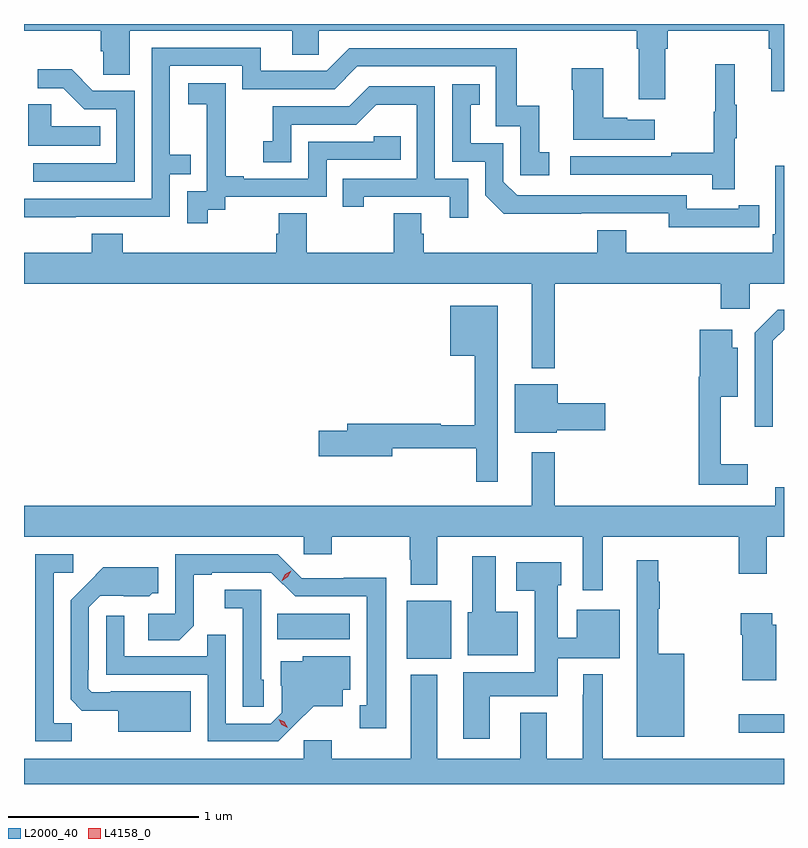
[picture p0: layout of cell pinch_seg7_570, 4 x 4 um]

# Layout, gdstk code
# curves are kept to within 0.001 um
import gdstk
lib = gdstk.Library(unit=1e-6, precision=1e-09)
def R(c, l, rs):  # rectangles x0, y0, x1, y1
    for r in rs: c.add(gdstk.rectangle(r[:2], r[2:], *l))
def P(c, l, *ps):  # polygons
    for p in ps: c.add(gdstk.Polygon(p, *l))
L2000_40 = (2000, 40)
L4158_0 = (4158, 0)

pinch_seg7_570 = lib.new_cell('pinch_seg7_570')
R(pinch_seg7_570, L2000_40, [(185.529,1050.2,185.767,1050.297), (183.782,1050.59,184.015,1050.895), (183.1,1050.692,183.481,1050.826)])
P(pinch_seg7_570, L2000_40, [(181.767,1053.896),(182.171,1053.896),(182.171,1053.787),(182.184,1053.787),(182.184,1053.664),(182.323,1053.664),(182.323,1053.896),(183.179,1053.896),(183.179,1053.769),(183.318,1053.769),(183.318,1053.896),(184.991,1053.896),(184.991,1053.8),(185.003,1053.8),(185.003,1053.534),(185.143,1053.534),(185.143,1053.8),(185.156,1053.8),(185.156,1053.896),(185.687,1053.896),(185.687,1053.8),(185.699,1053.8),(185.699,1053.576),(185.767,1053.576),(185.767,1053.931),(181.767,1053.931)],
  [(182.039,1052.916),(182.535,1052.916),(182.535,1053.141),(182.645,1053.141),(182.645,1053.242),(182.535,1053.242),(182.535,1053.711),(182.916,1053.711),(182.916,1053.588),(183.402,1053.588),(183.522,1053.708),(184.251,1053.708),(184.251,1053.393),(184.38,1053.393),(184.38,1053.135),(184.531,1053.135),(184.531,1053.255),(184.478,1053.255),(184.478,1053.502),(184.36,1053.502),(184.36,1053.804),(183.48,1053.804),(183.36,1053.684),(183.013,1053.684),(183.013,1053.807),(182.439,1053.807),(182.439,1053.012),(181.767,1053.012),(181.767,1052.915)],
  [(185.507,1053.331),(185.518,1053.331),(185.518,1053.505),(185.507,1053.505),(185.507,1053.718),(185.404,1053.718),(185.404,1053.468),(185.397,1053.468),(185.397,1053.254),(185.173,1053.254),(185.173,1053.234),(184.641,1053.234),(184.641,1053.138),(185.389,1053.138),(185.389,1053.06),(185.507,1053.06)],
  [(185.086,1053.427),(184.943,1053.427),(184.943,1053.437),(184.816,1053.437),(184.816,1053.697),(184.651,1053.697),(184.651,1053.584),(184.658,1053.584),(184.658,1053.323),(185.086,1053.323)],
  [(182.349,1053.579),(182.13,1053.579),(182.017,1053.692),(181.839,1053.692),(181.839,1053.594),(181.973,1053.594),(182.084,1053.483),(182.253,1053.483),(182.253,1053.198),(181.815,1053.198),(181.815,1053.102),(182.349,1053.102)],
  [(182.734,1052.953),(182.826,1052.953),(182.826,1053.021),(183.36,1053.021),(183.36,1053.216),(183.749,1053.216),(183.749,1053.339),(183.609,1053.339),(183.609,1053.312),(183.264,1053.312),(183.264,1053.117),(182.923,1053.117),(182.923,1053.13),(182.828,1053.13),(182.828,1053.413),(182.829,1053.413),(182.829,1053.619),(182.631,1053.619),(182.631,1053.509),(182.729,1053.509),(182.729,1053.281),(182.73,1053.281),(182.73,1053.051),(182.625,1053.051),(182.625,1052.883),(182.734,1052.883)],
  [(185.528,1052.862),(185.636,1052.862),(185.636,1052.978),(185.528,1052.978),(185.528,1052.958),(185.256,1052.958),(185.256,1053.03),(184.362,1053.03),(184.29,1053.102),(184.29,1053.303),(184.117,1053.303),(184.117,1053.507),(184.166,1053.507),(184.166,1053.613),(184.02,1053.613),(184.02,1053.207),(184.194,1053.207),(184.194,1053.03),(184.292,1052.933),(185.16,1052.934),(185.16,1052.861)],
  [(184.104,1053.117),(183.93,1053.117),(183.93,1053.603),(183.584,1053.603),(183.479,1053.498),(183.076,1053.498),(183.076,1053.313),(183.027,1053.313),(183.027,1053.204),(183.174,1053.204),(183.174,1053.402),(183.516,1053.402),(183.62,1053.506),(183.834,1053.506),(183.834,1053.117),(183.445,1053.117),(183.445,1052.97),(183.556,1052.97),(183.556,1053.021),(184.007,1053.021),(184.007,1052.91),(184.104,1052.91)],
  [(182.168,1053.394),(181.911,1053.394),(181.911,1053.509),(181.79,1053.509),(181.79,1053.29),(182.168,1053.29)],
  [(184.561,1052.564),(185.435,1052.564),(185.435,1052.433),(185.586,1052.433),(185.586,1052.564),(185.767,1052.564),(185.767,1053.184),(185.721,1053.184),(185.721,1052.824),(185.708,1052.824),(185.708,1052.728),(184.936,1052.728),(184.936,1052.845),(184.784,1052.845),(184.784,1052.728),(183.872,1052.728),(183.872,1052.826),(183.859,1052.826),(183.859,1052.936),(183.712,1052.936),(183.712,1052.728),(183.255,1052.728),(183.255,1052.936),(183.107,1052.936),(183.107,1052.826),(183.095,1052.826),(183.095,1052.728),(182.288,1052.728),(182.288,1052.827),(182.123,1052.827),(182.123,1052.728),(181.767,1052.728),(181.767,1052.564),(184.439,1052.564),(184.439,1052.12),(184.561,1052.12)],
  [(184.261,1052.449),(184.01,1052.449),(184.01,1052.186),(184.14,1052.186),(184.14,1051.819),(183.961,1051.819),(183.961,1051.826),(183.467,1051.826),(183.467,1051.79),(183.318,1051.79),(183.318,1051.655),(183.706,1051.655),(183.706,1051.698),(184.147,1051.698),(184.147,1051.521),(184.261,1051.521)],
  [(185.709,1052.265),(185.767,1052.323),(185.767,1052.428),(185.734,1052.428),(185.613,1052.307),(185.613,1051.812),(185.709,1051.812)],
  [(185.575,1051.615),(185.435,1051.615),(185.435,1051.97),(185.524,1051.97),(185.524,1052.227),(185.494,1052.227),(185.494,1052.323),(185.324,1052.323),(185.324,1052.074),(185.317,1052.074),(185.317,1051.506),(185.575,1051.506)],
  [(184.572,1051.792),(184.825,1051.792),(184.825,1051.934),(184.576,1051.934),(184.576,1052.035),(184.349,1052.035),(184.349,1051.781),(184.572,1051.781)],
  [(181.767,1051.232),(183.24,1051.232),(183.24,1051.139),(183.387,1051.139),(183.387,1051.232),(183.796,1051.232),(183.796,1051.111),(183.803,1051.111),(183.803,1050.98),(183.943,1050.98),(183.943,1051.232),(184.709,1051.232),(184.709,1050.951),(184.813,1050.951),(184.813,1051.232),(185.53,1051.232),(185.53,1051.038),(185.677,1051.038),(185.677,1051.232),(185.767,1051.232),(185.767,1051.494),(185.72,1051.494),(185.72,1051.396),(184.561,1051.396),(184.561,1051.678),(184.439,1051.678),(184.439,1051.396),(181.767,1051.396)],
  [(183.673,1051.016),(183.45,1051.016),(183.45,1051.014),(183.228,1051.014),(183.102,1051.14),(182.562,1051.14),(182.562,1050.828),(182.421,1050.828),(182.421,1050.688),(182.585,1050.688),(182.661,1050.764),(182.661,1051.032),(182.755,1051.032),(182.755,1051.044),(183.069,1051.044),(183.195,1050.918),(183.572,1050.918),(183.572,1050.345),(183.533,1050.345),(183.533,1050.225),(183.673,1050.225)],
  [(182.019,1050.251),(181.923,1050.251),(181.923,1051.044),(182.026,1051.044),(182.026,1051.14),(181.827,1051.14),(181.827,1050.156),(182.019,1050.156)],
  [(184.366,1050.838),(184.249,1050.838),(184.249,1051.129),(184.127,1051.129),(184.127,1050.834),(184.103,1050.834),(184.103,1050.608),(184.366,1050.608)],
  [(185.242,1050.616),(185.105,1050.616),(185.105,1050.854),(185.113,1050.854),(185.113,1050.995),(185.105,1050.995),(185.105,1051.108),(184.991,1051.108),(184.991,1050.179),(185.242,1050.179)],
  [(184.219,1050.392),(184.576,1050.392),(184.576,1050.593),(184.903,1050.593),(184.903,1050.847),(184.676,1050.847),(184.676,1050.701),(184.576,1050.701),(184.576,1050.978),(184.594,1050.978),(184.594,1051.099),(184.359,1051.099),(184.359,1050.947),(184.454,1050.947),(184.454,1050.52),(184.079,1050.52),(184.079,1050.168),(184.219,1050.168)],
  [(182.644,1050.418),(182.224,1050.418),(182.224,1050.414),(182.124,1050.414),(182.106,1050.432),(182.106,1050.532),(182.109,1050.532),(182.109,1050.861),(182.169,1050.921),(182.426,1050.92),(182.442,1050.936),(182.473,1050.936),(182.473,1051.072),(182.185,1051.072),(182.013,1050.898),(182.013,1050.376),(182.072,1050.317),(182.264,1050.317),(182.264,1050.206),(182.644,1050.206)],
  [(183.03,1050.48),(183.015,1050.48),(183.015,1050.954),(182.823,1050.954),(182.823,1050.857),(182.919,1050.857),(182.919,1050.337),(183.03,1050.337)],
  [(185.725,1050.768),(185.704,1050.768),(185.704,1050.829),(185.539,1050.829),(185.539,1050.716),(185.546,1050.716),(185.546,1050.476),(185.725,1050.476)],
  [(183.19,1050.239),(183.293,1050.341),(183.445,1050.341),(183.445,1050.428),(183.484,1050.428),(183.484,1050.604),(183.234,1050.604),(183.234,1050.577),(183.119,1050.577),(183.119,1050.448),(183.123,1050.448),(183.123,1050.306),(183.066,1050.249),(182.829,1050.249),(182.829,1050.716),(182.731,1050.716),(182.731,1050.603),(182.295,1050.603),(182.295,1050.817),(182.199,1050.817),(182.199,1050.507),(182.733,1050.507),(182.733,1050.156),(183.106,1050.156)],
  [(185.767,1050.064),(184.813,1050.064),(184.813,1050.508),(184.711,1050.508),(184.711,1050.401),(184.709,1050.401),(184.709,1050.064),(184.519,1050.064),(184.519,1050.307),(184.379,1050.307),(184.379,1050.064),(183.943,1050.064),(183.943,1050.505),(183.803,1050.505),(183.803,1050.064),(183.387,1050.064),(183.387,1050.16),(183.24,1050.16),(183.24,1050.064),(181.767,1050.064),(181.767,1049.931),(185.767,1049.931)])
P(pinch_seg7_570, L4158_0, [(183.124,1051.002),(183.124,1051.002),(183.142,1051.035),(183.173,1051.054),(183.174,1051.054),(183.174,1051.054),(183.156,1051.021),(183.125,1051.002)],
  [(183.154,1050.228),(183.124,1050.243),(183.107,1050.273),(183.107,1050.273),(183.107,1050.273),(183.138,1050.258),(183.155,1050.228),(183.155,1050.228)])

lib.write_gds('pinch_seg7_570.gds')
